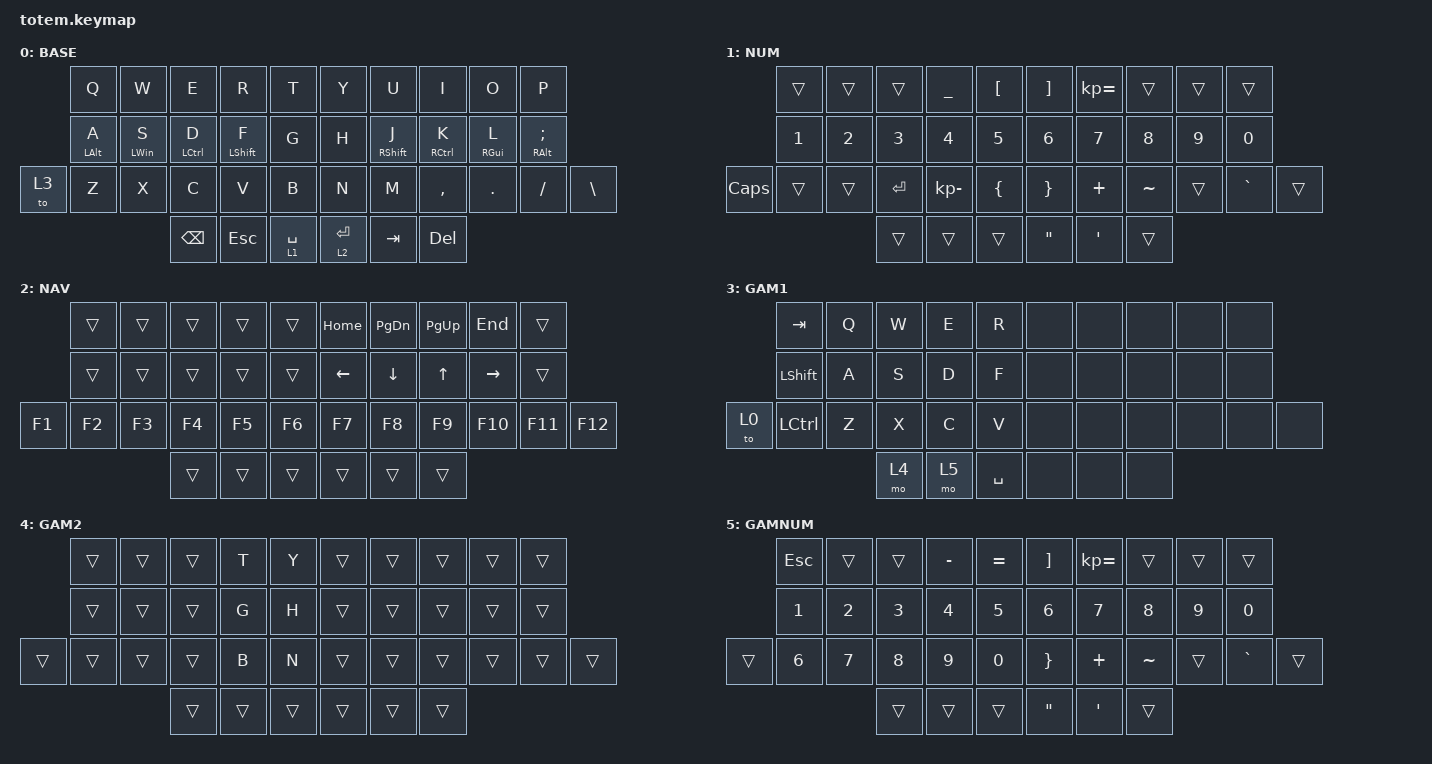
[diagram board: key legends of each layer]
//
//                                                        ▀▀▀▀▀     ▀▀▀▀▀          ▀▀█▀▀
//                                                        ▄▀▀▀▄  ▄  ▄▀▀▀▄  ▄  ▄▀▀▀▄  █  ▄▀▀▀▄
//                                                        █   █  █  █   █  █  █   █  █  █   █
//                                                         ▀▀▀   █   ▀▀▀   █   ▀▀▀   ▀   ▀▀▀
//                                                               █      ▄▄▄█▄▄▄    █   █  
//                                                               ▀      █  █  █     █▄█
//                                                             ▀▀▀▀▀    █  █  █      ▀
//                                                                      ▀  ▀  ▀
//
// ▄▄▄▄▄▄▄▄▄▄▄▄▄▄▄▄▄▄▄▄▄▄▄▄▄▄▄▄▄▄▄▄▄▄▄▄▄▄▄▄▄▄▄▄▄▄▄▄▄▄▄▄▄▄▄▄▄▄▄▄▄▄▄▄▄▄▄▄▄▄▄▄▄▄▄▄▄▄▄▄▄▄▄▄▄▄▄▄▄▄▄▄▄▄▄▄▄▄▄▄▄▄▄▄▄▄▄▄▄▄▄▄▄▄▄▄▄▄▄▄▄▄▄▄▄▄▄▄▄▄▄▄▄▄▄▄▄▄▄▄▄▄▄▄▄▄▄▄▄

#include <behaviors.dtsi>
#include <dt-bindings/zmk/keys.h>

#define BASE 0
#define NAV  1
#define SYM  2
#define ADJ  3
#define TVP1 4
#define TVP2 5

&mt {
    quick-tap-ms = <100>;
    global-quick-tap;
    flavor = "tap-preferred";
    tapping-term-ms = <170>;
};

/ {
    combos { compatible = "zmk,combos"; };

    behaviors {
        layer_mod: layer_mod {
            compatible = "zmk,behavior-hold-tap";
            label = "LAYER_MOD";
            bindings = <&mo>, <&kp>;

            #binding-cells = <2>;
            tapping-term-ms = <200>;
            hold-trigger-key-positions = <34 35>;
        };

        alt_mod: alt_mod {
            compatible = "zmk,behavior-hold-tap";
            label = "ALT_MOD";
            bindings = <&kp>, <&kp>;

            #binding-cells = <2>;
            flavor = "tap-preferred";
            tapping-term-ms = <300>;
            hold-trigger-key-positions = <19 10>;
        };

        gaming_mod: gaming_mod {
            compatible = "zmk,behavior-hold-tap";
            label = "GAMING_MOD";
            bindings = <&mo>, <&kp>;

            #binding-cells = <2>;
            tapping-term-ms = <300>;
            flavor = "tap-preferred";
        };
    };

    keymap {
        compatible = "zmk,keymap";

        // ▄▄▄▄▄▄▄▄▄▄▄▄▄▄▄▄▄▄▄▄▄▄▄▄▄▄▄▄▄▄▄▄▄▄▄▄▄▄▄▄▄▄▄▄▄▄▄▄▄▄▄▄▄▄▄▄▄▄▄▄▄▄▄▄▄▄▄▄▄▄▄▄▄▄▄▄▄▄▄▄▄▄▄▄▄▄▄▄▄▄▄▄▄▄▄▄▄▄▄▄▄▄▄▄▄▄▄▄▄▄▄▄▄▄▄▄▄▄▄▄▄▄▄▄▄▄▄▄▄▄▄▄▄▄▄▄▄▄▄▄▄▄▄▄▄▄▄▄▄

        base_layer {
            // ┏━━━━━━━━━━━━━━━━━━━━━━━━━━━━━━━━━━━━━━━┓

            label = "BASE";

            // ┗━━━━━━━━━━━━━━━━━━━━━━━━━━━━━━━━━━━━━━━┛
            //             ┏━━━━━━━━━━━┳━━━━━━━━━━━┳━━━━━━━━━━━┳━━━━━━━━━━━┳━━━━━━━━━━━┓   ┏━━━━━━━━━━━┳━━━━━━━━━━━┳━━━━━━━━━━━┳━━━━━━━━━━━┳━━━━━━━━━━━┓
            //             ┃     Q     ┃     W     ┃     F     ┃     P     ┃     G     ┃   ┃     J     ┃     L     ┃     U     ┃     Y     ┃     ;     ┃
            //             ┣━━━━━━━━━━━╋━━━━━━━━━━━╋━━━━━━━━━━━╋━━━━━━━━━━━╋━━━━━━━━━━━┫   ┣━━━━━━━━━━━╋━━━━━━━━━━━╋━━━━━━━━━━━╋━━━━━━━━━━━╋━━━━━━━━━━━┫
            //             ┃     A     ┃     R     ┃     S     ┃     T     ┃     D     ┃   ┃     H     ┃     N     ┃     E     ┃     I     ┃     O     ┃
            // ┏━━━━━━━━━━━╋━━━━━━━━━━━╋━━━━━━━━━━━╋━━━━━━━━━━━╋━━━━━━━━━━━╋━━━━━━━━━━━┫   ┣━━━━━━━━━━━╋━━━━━━━━━━━╋━━━━━━━━━━━╋━━━━━━━━━━━╋━━━━━━━━━━━╋━━━━━━━━━━━┓
            // ┃     Q     ┃     Z     ┃     X     ┃     C     ┃     V     ┃     B     ┃   ┃     K     ┃     M     ┃     ,     ┃     .     ┃     /     ┃     \     ┃
            // ┗━━━━━━━━━━━┻━━━━━━━━━━━┻━━━━━━━━━━━╋━━━━━━━━━━━╋━━━━━━━━━━━╋━━━━━━━━━━━┫   ┣━━━━━━━━━━━╋━━━━━━━━━━━╋━━━━━━━━━━━╋━━━━━━━━━━━┻━━━━━━━━━━━┻━━━━━━━━━━━┛
            //                                     ┃    DEL    ┃    TAB    ┃    SPC    ┃   ┃   ENTER   ┃           ┃   BSPC    ┃
            //                                     ┗━━━━━━━━━━━┻━━━━━━━━━━━┻━━━━━━━━━━━┛   ┗━━━━━━━━━━━┻━━━━━━━━━━━┻━━━━━━━━━━━┛

            bindings = <
       &kp Q                &kp W           &kp E          &kp R        &kp T                 &kp Y             &kp U        &kp I        &kp O            &kp P
       &alt_mod LEFT_ALT A  &mt LEFT_WIN S  &mt LCTRL D    &mt LSHFT F  &kp G                 &kp H             &mt RSHFT J  &mt RCTRL K  &mt RIGHT_GUI L  &alt_mod RIGHT_ALT SEMICOLON
&to 3  &kp Z                &kp X           &kp C          &kp V        &kp B                 &kp N             &kp M        &kp COMMA    &kp DOT          &kp FSLH                      &kp BSLH
                                            &kp BACKSPACE  &kp ESC      &layer_mod 1 SPACE    &layer_mod 2 RET  &kp TAB      &kp DEL
            >;
        };

        // ▄▄▄▄▄▄▄▄▄▄▄▄▄▄▄▄▄▄▄▄▄▄▄▄▄▄▄▄▄▄▄▄▄▄▄▄▄▄▄▄▄▄▄▄▄▄▄▄▄▄▄▄▄▄▄▄▄▄▄▄▄▄▄▄▄▄▄▄▄▄▄▄▄▄▄▄▄▄▄▄▄▄▄▄▄▄▄▄▄▄▄▄▄▄▄▄▄▄▄▄▄▄▄▄▄▄▄▄▄▄▄▄▄▄▄▄▄▄▄▄▄▄▄▄▄▄▄▄▄▄▄▄▄▄▄▄▄▄▄▄▄▄▄▄▄▄▄▄▄
        // ▄▄▄▄▄▄▄▄▄▄▄▄▄▄▄▄▄▄▄▄▄▄▄▄▄▄▄▄▄▄▄▄▄▄▄▄▄▄▄▄▄▄▄▄▄▄▄▄▄▄▄▄▄▄▄▄▄▄▄▄▄▄▄▄▄▄▄▄▄▄▄▄▄▄▄▄▄▄▄▄▄▄▄▄▄▄▄▄▄▄▄▄▄▄▄▄▄▄▄▄▄▄▄▄▄▄▄▄▄▄▄▄▄▄▄▄▄▄▄▄▄▄▄▄▄▄▄▄▄▄▄▄▄▄▄▄▄▄▄▄▄▄▄▄▄▄▄▄▄
        // ▄▄▄▄▄▄▄▄▄▄▄▄▄▄▄▄▄▄▄▄▄▄▄▄▄▄▄▄▄▄▄▄▄▄▄▄▄▄▄▄▄▄▄▄▄▄▄▄▄▄▄▄▄▄▄▄▄▄▄▄▄▄▄▄▄▄▄▄▄▄▄▄▄▄▄▄▄▄▄▄▄▄▄▄▄▄▄▄▄▄▄▄▄▄▄▄▄▄▄▄▄▄▄▄▄▄▄▄▄▄▄▄▄▄▄▄▄▄▄▄▄▄▄▄▄▄▄▄▄▄▄▄▄▄▄▄▄▄▄▄▄▄▄▄▄▄▄▄▄
        // ▄▄▄▄▄▄▄▄▄▄▄▄▄▄▄▄▄▄▄▄▄▄▄▄▄▄▄▄▄▄▄▄▄▄▄▄▄▄▄▄▄▄▄▄▄▄▄▄▄▄▄▄▄▄▄▄▄▄▄▄▄▄▄▄▄▄▄▄▄▄▄▄▄▄▄▄▄▄▄▄▄▄▄▄▄▄▄▄▄▄▄▄▄▄▄▄▄▄▄▄▄▄▄▄▄▄▄▄▄▄▄▄▄▄▄▄▄▄▄▄▄▄▄▄▄▄▄▄▄▄▄▄▄▄▄▄▄▄▄▄▄▄▄▄▄▄▄▄▄
        // ▄▄▄▄▄▄▄▄▄▄▄▄▄▄▄▄▄▄▄▄▄▄▄▄▄▄▄▄▄▄▄▄▄▄▄▄▄▄▄▄▄▄▄▄▄▄▄▄▄▄▄▄▄▄▄▄▄▄▄▄▄▄▄▄▄▄▄▄▄▄▄▄▄▄▄▄▄▄▄▄▄▄▄▄▄▄▄▄▄▄▄▄▄▄▄▄▄▄▄▄▄▄▄▄▄▄▄▄▄▄▄▄▄▄▄▄▄▄▄▄▄▄▄▄▄▄▄▄▄▄▄▄▄▄▄▄▄▄▄▄▄▄▄▄▄▄▄▄▄

        num_layer {
            bindings = <
          &trans        &trans        &trans        &kp UNDER        &kp LEFT_BRACKET    &kp RIGHT_BRACKET  &kp KP_EQUAL      &trans     &trans  &trans
          &kp NUMBER_1  &kp NUMBER_2  &kp NUMBER_3  &kp NUMBER_4     &kp N5              &kp NUMBER_6       &kp N7            &kp N8     &kp N9  &kp N0
&kp CLCK  &trans        &trans        &kp ENTER     &kp KP_SUBTRACT  &kp LEFT_BRACE      &kp RIGHT_BRACE    &kp PLUS          &kp TILDE  &trans  &kp GRAVE  &trans
                                      &trans        &trans           &trans              &kp DOUBLE_QUOTES  &kp SINGLE_QUOTE  &trans
            >;

            label = "NUM";
        };

        nav_layer {
            bindings = <
        &trans  &trans  &trans  &trans  &trans    &kp HOME  &kp PAGE_DOWN  &kp PAGE_UP   &kp END    &trans
        &trans  &trans  &trans  &trans  &trans    &kp LEFT  &kp DOWN       &kp UP_ARROW  &kp RIGHT  &trans
&kp F1  &kp F2  &kp F3  &kp F4  &kp F5  &kp F6    &kp F7    &kp F8         &kp F9        &kp F10    &kp F11  &kp F12
                        &trans  &trans  &trans    &trans    &trans         &trans
            >;

            label = "NAV";
        };

        gaming_layer {
            bindings = <
       &kp TAB           &kp Q  &kp W  &kp E  &kp R        &none  &none  &none  &none  &none
       &kp LEFT_SHIFT    &kp A  &kp S  &kp D  &kp F        &none  &none  &none  &none  &none
&to 0  &kp LEFT_CONTROL  &kp Z  &kp X  &kp C  &kp V        &none  &none  &none  &none  &none  &none
                                &mo 4  &mo 5  &kp SPACE    &none  &none  &none
            >;

            label = "GAM1";
        };

        gaming_layer_2 {
            bindings = <
        &trans  &trans  &trans  &kp T   &kp Y     &trans  &trans  &trans  &trans  &trans
        &trans  &trans  &trans  &kp G   &kp H     &trans  &trans  &trans  &trans  &trans
&trans  &trans  &trans  &trans  &kp B   &kp N     &trans  &trans  &trans  &trans  &trans  &trans
                        &trans  &trans  &trans    &trans  &trans  &trans
            >;

            label = "GAM2";
        };

        gaming_num {
            label = "GAMNUM";
            bindings = <
        &kp ESC       &trans        &trans        &kp MINUS     &kp EQUAL    &kp RIGHT_BRACKET  &kp KP_EQUAL      &trans     &trans  &trans
        &kp NUMBER_1  &kp NUMBER_2  &kp NUMBER_3  &kp NUMBER_4  &kp N5       &kp NUMBER_6       &kp N7            &kp N8     &kp N9  &kp N0
&trans  &kp NUMBER_6  &kp N7        &kp N8        &kp N9        &kp N0       &kp RIGHT_BRACE    &kp PLUS          &kp TILDE  &trans  &kp GRAVE  &trans
                                    &trans        &trans        &trans       &kp DOUBLE_QUOTES  &kp SINGLE_QUOTE  &trans
            >;
        };
    };
};
